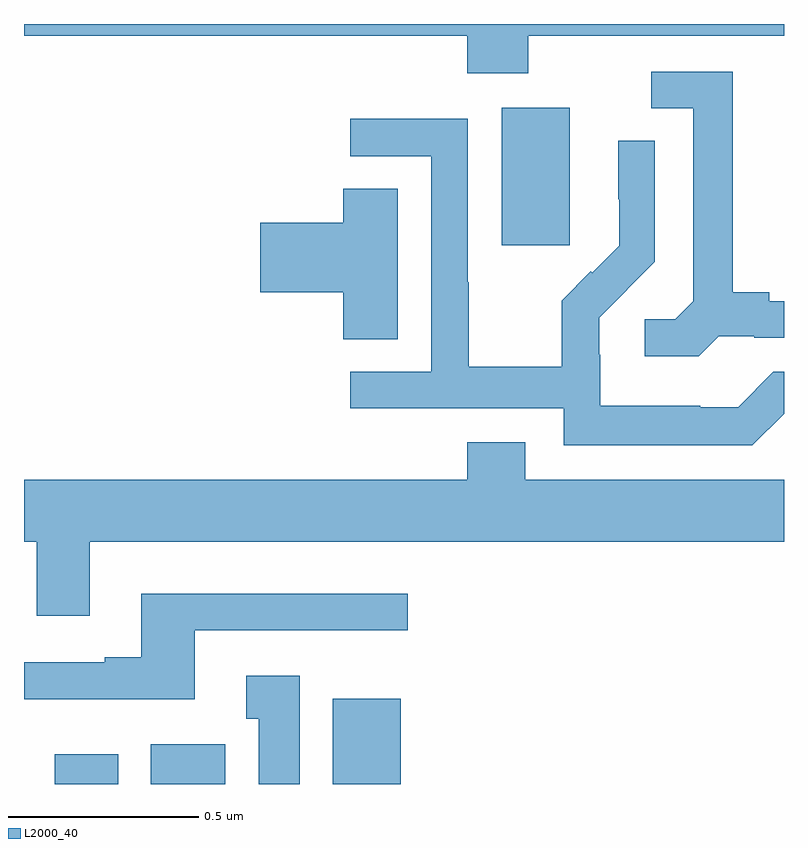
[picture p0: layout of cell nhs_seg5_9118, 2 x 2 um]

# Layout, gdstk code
import gdstk
lib = gdstk.Library(unit=1e-6, precision=1e-09)
def R(c, l, rs):  # rectangles x0, y0, x1, y1
    for r in rs: c.add(gdstk.rectangle(r[:2], r[2:], *l))
def P(c, l, *ps):  # polygons
    for p in ps: c.add(gdstk.Polygon(p, *l))
L2000_40 = (2000, 40)

nhs_seg5_9118 = lib.new_cell('nhs_seg5_9118')
R(nhs_seg5_9118, L2000_40, [(230.081,846.799,230.248,846.877), (230.333,846.799,230.53,846.904), (230.813,846.799,230.992,847.024), (231.257,848.217,231.436,848.578)])
P(nhs_seg5_9118, L2000_40, [(231.327,848.768),(232,848.768),(232,848.799),(230,848.799),(230,848.768),(231.167,848.768),(231.167,848.669),(231.327,848.669)],
  [(231.828,847.977),(231.922,847.977),(231.922,847.974),(232,847.974),(232,848.07),(231.961,848.07),(231.961,848.093),(231.865,848.093),(231.865,848.673),(231.651,848.673),(231.651,848.577),(231.761,848.577),(231.761,848.069),(231.714,848.022),(231.633,848.022),(231.633,847.925),(231.776,847.925)],
  [(232,847.774),(232,847.884),(231.972,847.884),(231.879,847.791),(231.779,847.791),(231.779,847.795),(231.516,847.795),(231.516,847.929),(231.514,847.929),(231.514,848.026),(231.588,848.1),(231.587,848.101),(231.66,848.174),(231.66,848.492),(231.564,848.492),(231.564,848.338),(231.566,848.338),(231.566,848.216),(231.495,848.145),(231.492,848.148),(231.415,848.071),(231.415,847.897),(231.171,847.897),(231.171,848.12),(231.168,848.12),(231.168,848.55),(230.859,848.55),(230.859,848.451),(231.072,848.451),(231.072,847.884),(230.859,847.884),(230.859,847.788),(231.42,847.788),(231.42,847.691),(231.917,847.691)],
  [(230.983,848.366),(230.84,848.366),(230.84,848.276),(230.622,848.276),(230.622,848.093),(230.84,848.093),(230.84,847.969),(230.983,847.969)],
  [(230.173,847.436),(232,847.436),(232,847.6),(231.319,847.6),(231.319,847.699),(231.167,847.699),(231.167,847.6),(230,847.6),(230,847.436),(230.033,847.436),(230.033,847.242),(230.173,847.242)],
  [(230.449,847.203),(231.01,847.203),(231.01,847.3),(230.309,847.3),(230.309,847.132),(230.213,847.132),(230.213,847.119),(230,847.119),(230,847.022),(230.449,847.022)],
  [(230.725,847.084),(230.585,847.084),(230.585,846.971),(230.618,846.971),(230.618,846.799),(230.725,846.799)])

lib.write_gds('nhs_seg5_9118.gds')
